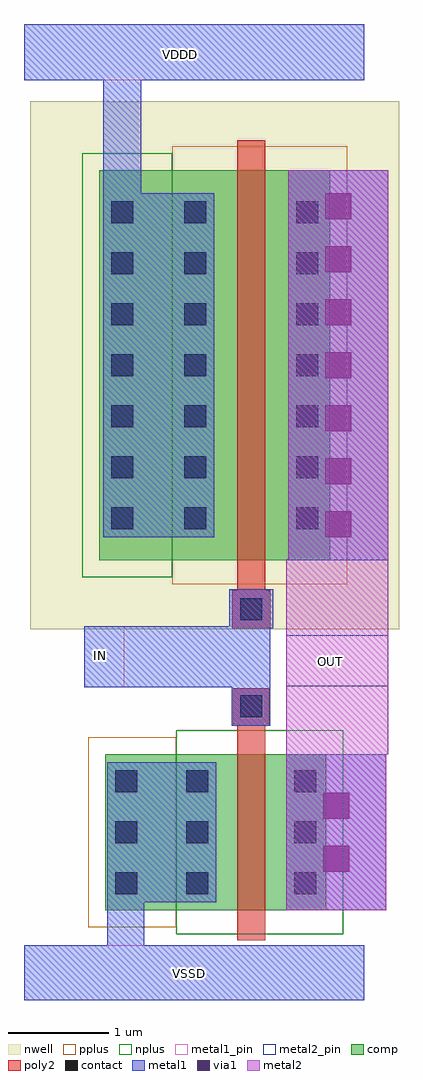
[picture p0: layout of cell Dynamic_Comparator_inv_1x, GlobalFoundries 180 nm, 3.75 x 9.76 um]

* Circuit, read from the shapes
.subckt Dynamic_Comparator_inv_1x IN OUT VDDD VSSD
XM1 OUT IN VSSD VSSD nfet_03v3 w=1.56u l=0.28u
XM2 OUT IN VDDD VDDD pfet_03v3 w=3.9u l=0.28u
.ends

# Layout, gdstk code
from math import pi, radians
import gdstk
lib = gdstk.Library(unit=1e-6, precision=1e-09)
def R(c, l, rs):  # rectangles x0, y0, x1, y1
    for r in rs: c.add(gdstk.rectangle(r[:2], r[2:], *l))
def A(c, l, x, y, w, h, nx, ny, dx, dy):  # array of equal rectangles
    R(c, l, [(x+i*dx, y+j*dy, x+i*dx+w, y+j*dy+h) for i in range(nx) for j in range(ny)])
nwell = (21, 0)
comp = (22, 0)
poly2 = (30, 0)
pplus = (31, 0)
nplus = (32, 0)
contact = (33, 0)
metal1 = (34, 0)
metal1_pin = (34, 10)
via1 = (35, 0)
metal2 = (36, 0)
metal2_pin = (36, 10)

pfet_1 = lib.new_cell('pfet$1')
R(pfet_1, nwell, [(-1.15,-0.69,2.54,4.59)])
R(pfet_1, comp, [(-0.46,0,0,3.9), (0,0,0.66,3.9), (0.66,0,1.12,3.9), (1.12,0,1.85,3.9)])
R(pfet_1, poly2, [(0.19,-0.3,0.47,4.2), (0.14,4.2,0.52,4.58)])
R(pfet_1, pplus, [(-0.63,-0.24,1.12,4.14)])
R(pfet_1, nplus, [(1.12,-0.17,2.02,4.07)])
A(pfet_1, contact, -0.34, 0.31, 0.22, 0.22, 1, 7, 0, 0.51)
A(pfet_1, contact, 0.78, 0.31, 0.22, 0.22, 1, 7, 0, 0.51)
A(pfet_1, contact, 1.51, 0.31, 0.22, 0.22, 1, 7, 0, 0.51)
R(pfet_1, contact, [(0.22,4.28,0.44,4.5)])
R(pfet_1, metal1, [(-0.42,0.23,-0.04,3.67), (0.7,0.23,1.08,3.67), (1.43,0.23,1.81,3.67), (0.14,4.199,0.52,4.581)])

nfet_1 = lib.new_cell('nfet$1')
R(nfet_1, comp, [(-0.42,0,0,1.56), (0,0,0.66,1.56), (0.66,0,1.08,1.56), (1.08,0,1.79,1.56)])
R(nfet_1, poly2, [(0.19,-0.3,0.47,1.86), (0.15,1.86,0.51,2.22)])
R(nfet_1, pplus, [(1.08,-0.17,1.96,1.73)])
R(nfet_1, nplus, [(-0.59,-0.24,1.08,1.8)])
A(nfet_1, contact, -0.32, 0.16, 0.22, 0.22, 1, 3, 0, 0.51)
A(nfet_1, contact, 0.76, 0.16, 0.22, 0.22, 1, 3, 0, 0.51)
A(nfet_1, contact, 1.47, 0.16, 0.22, 0.22, 1, 3, 0, 0.51)
R(nfet_1, contact, [(0.22,1.93,0.44,2.15)])
R(nfet_1, metal1, [(-0.4,0.08,-0.02,1.48), (0.68,0.08,1.06,1.48), (1.39,0.08,1.77,1.48), (0.14,1.849,0.52,2.231)])

via_dev = lib.new_cell('via_dev')
R(via_dev, metal1, [(0,0,1,1.56)])
R(via_dev, via1, [(0.37,0.385,0.63,0.645), (0.37,0.915,0.63,1.175)])
R(via_dev, metal2, [(0,0,1,1.56)])

via_dev_1 = lib.new_cell('via_dev$1')
R(via_dev_1, metal1, [(0,0,1,3.9)])
A(via_dev_1, via1, 0.37, 0.23, 0.26, 0.26, 1, 7, 0, 0.53)
R(via_dev_1, metal2, [(0,0,1,3.9)])

dynamic_comparator_inv_1 = lib.new_cell('Dynamic_Comparator_inv_1x')
R(dynamic_comparator_inv_1, metal1, [(-1.6,-3.6,1.8,-3.05), (-0.77,-3.1,-0.4,-2.6), (-0.5,-2.62,0.05,-1.22), (0.475,-0.855,0.86,-0.47), (0.48,-0.6,0.86,0.21), (-1,-0.47,0.86,0.14), (0.45,0.12,0.89,0.51), (-0.48,1.03,0.01,4.47), (-0.81,4.42,-0.43,5.67), (-1.6,5.6,1.8,6.16)])
R(dynamic_comparator_inv_1, metal1_pin, [(-1.6,-3.6,1.8,-3.05), (-1,-0.47,-0.6,0.14), (-1.6,5.6,1.8,6.16)])
R(dynamic_comparator_inv_1, metal2, [(1.02,-1.14,2.04,0.81)])
R(dynamic_comparator_inv_1, metal2_pin, [(1.02,-0.46,2.04,0.05)])
dynamic_comparator_inv_1.add(gdstk.Reference(pfet_1, (1,4.7), rotation=pi))
dynamic_comparator_inv_1.add(gdstk.Reference(nfet_1, (1,-2.7), rotation=pi, x_reflection=True))
dynamic_comparator_inv_1.add(gdstk.Reference(via_dev, (1.02,-2.7)))
dynamic_comparator_inv_1.add(gdstk.Reference(via_dev_1, (1.04,0.8)))
dynamic_comparator_inv_1.add(gdstk.Label('VDDD', (-0.04,5.86), layer=34, texttype=10))
dynamic_comparator_inv_1.add(gdstk.Label('IN', (-0.84,-0.15), layer=34, texttype=10))
dynamic_comparator_inv_1.add(gdstk.Label('VSSD', (0.05,-3.33), layer=34, texttype=10))
dynamic_comparator_inv_1.add(gdstk.Label('OUT', (1.46,-0.21), layer=36, texttype=10))

lib.write_gds('Dynamic_Comparator_inv_1x.gds')
